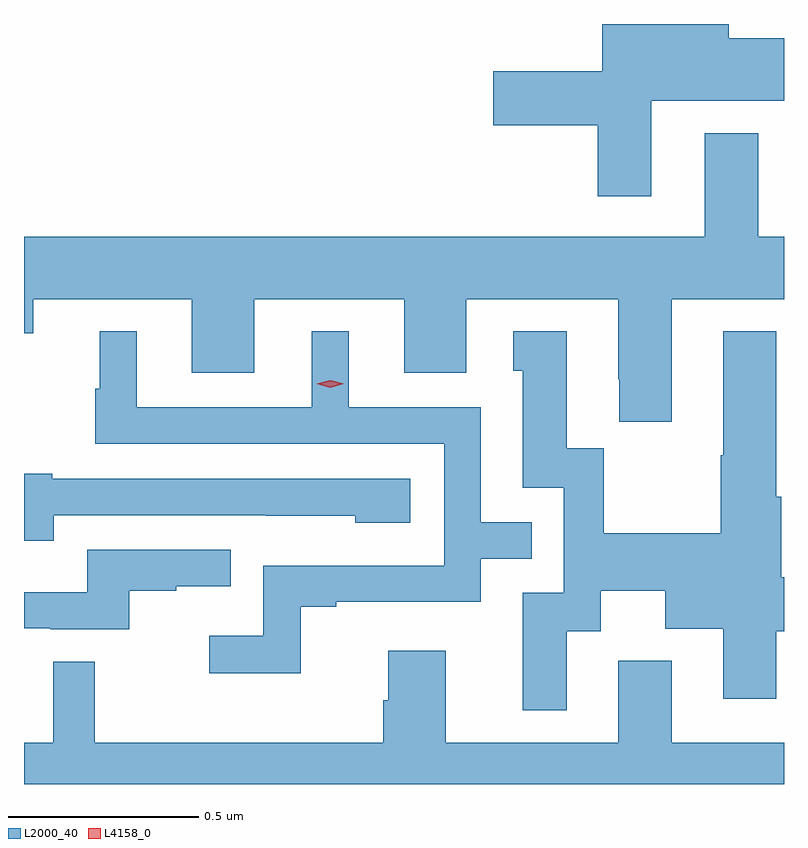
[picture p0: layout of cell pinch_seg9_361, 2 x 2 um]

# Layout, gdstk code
import gdstk
lib = gdstk.Library(unit=1e-6, precision=1e-09)
def P(c, l, *ps):  # polygons
    for p in ps: c.add(gdstk.Polygon(p, *l))
L2000_40 = (2000, 40)
L4158_0 = (4158, 0)

pinch_seg9_361 = lib.new_cell('pinch_seg9_361')
P(pinch_seg9_361, L2000_40, [(556.471,1186.286),(556.821,1186.286),(556.821,1186.45),(556.675,1186.45),(556.675,1186.488),(556.343,1186.488),(556.343,1186.364),(556.056,1186.364),(556.056,1186.222),(556.331,1186.222),(556.331,1186.035),(556.471,1186.035)],
  [(556.525,1185.764),(556.821,1185.764),(556.821,1185.928),(556.753,1185.928),(556.753,1186.201),(556.613,1186.201),(556.613,1185.928),(554.821,1185.928),(554.821,1185.674),(554.845,1185.674),(554.845,1185.764),(555.263,1185.764),(555.263,1185.57),(555.427,1185.57),(555.427,1185.764),(555.821,1185.764),(555.821,1185.57),(555.985,1185.57),(555.985,1185.764),(556.385,1185.764),(556.385,1185.553),(556.388,1185.553),(556.388,1185.441),(556.525,1185.441)],
  [(555.549,1184.955),(555.643,1184.955),(555.643,1184.967),(556.023,1184.967),(556.023,1185.081),(556.157,1185.081),(556.157,1185.177),(556.023,1185.177),(556.023,1185.48),(555.676,1185.48),(555.676,1185.679),(555.578,1185.679),(555.578,1185.48),(555.118,1185.48),(555.118,1185.679),(555.02,1185.679),(555.02,1185.528),(555.009,1185.528),(555.009,1185.384),(555.927,1185.384),(555.927,1185.063),(555.45,1185.063),(555.45,1184.878),(555.309,1184.878),(555.309,1184.78),(555.549,1184.78)],
  [(556.249,1184.89),(556.339,1184.89),(556.339,1184.996),(556.508,1184.996),(556.508,1184.897),(556.661,1184.897),(556.661,1184.712),(556.801,1184.712),(556.801,1184.89),(556.821,1184.89),(556.821,1185.032),(556.814,1185.032),(556.814,1185.244),(556.801,1185.244),(556.801,1185.679),(556.661,1185.679),(556.661,1185.353),(556.654,1185.353),(556.654,1185.148),(556.347,1185.148),(556.347,1185.371),(556.249,1185.371),(556.249,1185.679),(556.109,1185.679),(556.109,1185.576),(556.133,1185.576),(556.133,1185.267),(556.242,1185.267),(556.242,1184.991),(556.133,1184.991),(556.133,1184.682),(556.249,1184.682)],
  [(554.899,1185.195),(555.457,1185.195),(555.457,1185.194),(555.693,1185.194),(555.693,1185.176),(555.838,1185.176),(555.838,1185.291),(554.895,1185.291),(554.895,1185.304),(554.821,1185.304),(554.821,1185.128),(554.899,1185.128)],
  [(555.098,1184.997),(555.221,1184.997),(555.221,1185.008),(555.365,1185.008),(555.365,1185.105),(554.988,1185.105),(554.988,1184.993),(554.821,1184.993),(554.821,1184.898),(554.89,1184.898),(554.89,1184.895),(555.098,1184.895)],
  [(556.821,1184.596),(556.525,1184.596),(556.525,1184.812),(556.385,1184.812),(556.385,1184.596),(555.931,1184.596),(555.931,1184.839),(555.779,1184.839),(555.779,1184.709),(555.767,1184.709),(555.767,1184.596),(555.007,1184.596),(555.007,1184.81),(554.898,1184.81),(554.898,1184.596),(554.821,1184.596),(554.821,1184.488),(556.821,1184.488)])
P(pinch_seg9_361, L4158_0, [(555.627,1185.531),(555.591,1185.541),(555.591,1185.541),(555.591,1185.541),(555.627,1185.551),(555.662,1185.541),(555.663,1185.541),(555.662,1185.541)])

lib.write_gds('pinch_seg9_361.gds')
